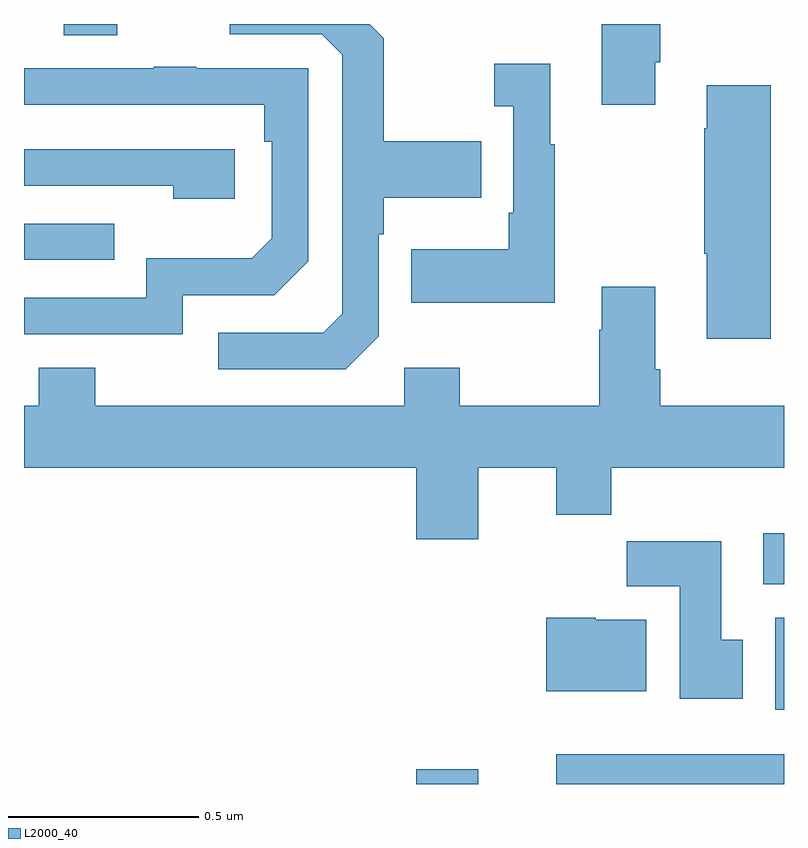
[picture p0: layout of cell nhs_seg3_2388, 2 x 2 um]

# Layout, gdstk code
import gdstk
lib = gdstk.Library(unit=1e-6, precision=1e-09)
def R(c, l, rs):  # rectangles x0, y0, x1, y1
    for r in rs: c.add(gdstk.rectangle(r[:2], r[2:], *l))
def P(c, l, *ps):  # polygons
    for p in ps: c.add(gdstk.Polygon(p, *l))
L2000_40 = (2000, 40)

nhs_seg3_2388 = lib.new_cell('nhs_seg3_2388')
R(nhs_seg3_2388, L2000_40, [(141.032,717.4,141.196,717.439), (141.401,717.4,142,717.478), (141.977,717.596,142,717.838), (141.945,717.926,142,718.06), (140,718.779,140.237,718.875), (140.105,719.37,140.245,719.4)])
P(nhs_seg3_2388, L2000_40, [(141.661,719.299),(141.674,719.299),(141.674,719.4),(141.521,719.4),(141.521,719.187),(141.661,719.187)],
  [(140.934,718.578),(140.934,718.847),(140.947,718.847),(140.947,718.943),(141.203,718.943),(141.203,719.091),(140.947,719.091),(140.947,719.363),(140.91,719.4),(140.541,719.4),(140.541,719.373),(140.784,719.373),(140.838,719.319),(140.838,718.638),(140.787,718.587),(140.511,718.587),(140.511,718.491),(140.847,718.491)],
  [(141.397,719.083),(141.385,719.083),(141.385,719.296),(141.237,719.296),(141.237,719.183),(141.288,719.183),(141.288,718.903),(141.276,718.903),(141.276,718.807),(141.019,718.807),(141.019,718.667),(141.397,718.667)],
  [(140.418,718.686),(140.658,718.686),(140.748,718.776),(140.748,719.283),(140.453,719.283),(140.453,719.288),(140.341,719.288),(140.341,719.283),(140,719.283),(140,719.187),(140.632,719.187),(140.632,719.09),(140.652,719.09),(140.652,718.836),(140.599,718.783),(140.322,718.783),(140.322,718.68),(140,718.68),(140,718.584),(140.418,718.584)],
  [(141.965,719.239),(141.797,719.239),(141.797,719.126),(141.79,719.126),(141.79,718.795),(141.797,718.795),(141.797,718.572),(141.965,718.572)],
  [(140.554,719.07),(140,719.07),(140,718.974),(140.393,718.974),(140.393,718.94),(140.554,718.94)],
  [(141.196,718.232),(141.401,718.232),(141.401,718.108),(141.545,718.108),(141.545,718.232),(142,718.232),(142,718.396),(141.674,718.396),(141.674,718.492),(141.661,718.492),(141.661,718.708),(141.521,718.708),(141.521,718.595),(141.514,718.595),(141.514,718.396),(141.147,718.396),(141.147,718.495),(141,718.495),(141,718.396),(140.187,718.396),(140.187,718.495),(140.039,718.495),(140.039,718.396),(140,718.396),(140,718.232),(141.032,718.232),(141.032,718.044),(141.196,718.044)],
  [(141.892,717.78),(141.835,717.78),(141.835,718.039),(141.586,718.039),(141.586,717.92),(141.725,717.92),(141.725,717.624),(141.892,717.624)],
  [(141.637,717.832),(141.504,717.832),(141.504,717.838),(141.374,717.838),(141.374,717.644),(141.637,717.644)])

lib.write_gds('nhs_seg3_2388.gds')
